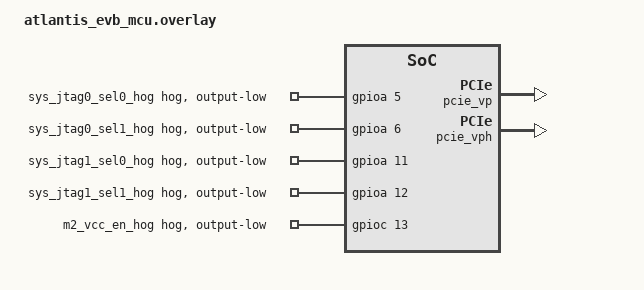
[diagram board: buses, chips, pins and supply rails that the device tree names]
// Tenstorrent Atlantis EVB MCU

#include "atlantis_common.dtsi"

/*
 * Host power rails (doc/hardware.rst, "SoC rails controlled by the
 * MCU"): the ATX supply, then the SLT order, the M.2 slot and the
 * handshakes. The schematic gives no inter-rail timings; the settle
 * times cover the regulators' own soft-start and are placeholders until
 * the SoC power sequencing specification gives real numbers.
 */
/ {
	power_rails: power-rails {
		/*
		 * ATX T1 + T3: up to 1 s from PS_ON to PWR_OK. On power off the
		 * PSU stays on while the LPDDR5 PMIC shuts down.
		 */
		atx: atx {
			compatible = "wallabmc,power-rail";
			enable = <&atx_pson>;
			power-good = <&atx_pwr_ok>;
			power-good-timeout-ms = <2000>;
			off-delay-ms = <100>;
		};
		/*
		 * PG_PH1 and PG_PH2 are clamped to about 2 V by LEDs; if PC7
		 * reads low with VCORE up, move pg_ph1 to power-good-optional
		 * (see Known issues). The TPS546E25 secondary's PG_PH2 is
		 * undocumented in a stack, so it only warns until measured.
		 */
		vcore_0v8: vcore_0v8 {
			compatible = "wallabmc,power-rail";
			enable = <&vcore_0v8_en>;
			power-good = <&pg_ph1>;
			power-good-optional = <&pg_ph2>;
		};
		mpm54304: mpm54304 {
			compatible = "wallabmc,power-rail";
			enable = <&mpm54304_en>;
			power-good = <&mpm54304_gpio>;
		};
		ddr_vdd: ddr_vdd {
			compatible = "wallabmc,power-rail";
			enable = <&ddr_vdd_en>;
			power-good = <&pwr_good_lpddr5>;
		};
		ddr_vdd2l: ddr_vdd2l {
			compatible = "wallabmc,power-rail";
			enable = <&ddr_vdd2l_en>;
			power-good = <&pwr_good_0v9>;
		};
		ddr_vddq: ddr_vddq {
			compatible = "wallabmc,power-rail";
			enable = <&ddr_vddq_en>;
			settle-ms = <1>;
		};
		pcie_vp: pcie_vp {
			compatible = "wallabmc,power-rail";
			enable = <&pcie_vp_en>;
			settle-ms = <5>;
		};
		pcie_vph: pcie_vph {
			compatible = "wallabmc,power-rail";
			enable = <&pcie_vph_en>;
			settle-ms = <5>;
		};
		/* TPS25200 turn-on plus the PCIe T_PVPERL before reset release */
		m2: m2 {
			compatible = "wallabmc,power-rail";
			enable = <&m2_vcc_en>;
			settle-ms = <120>;
		};
		/* Handshakes to the SoC, driven once every rail is up */
		pwr1_gd: pwr1_gd {
			compatible = "wallabmc,power-rail";
			enable = <&pwr1_gd_out>;
		};
		pwr2_gd: pwr2_gd {
			compatible = "wallabmc,power-rail";
			enable = <&pwr2_gd_out>;
		};
		otp_pwrrdy: otp_pwrrdy {
			compatible = "wallabmc,power-rail";
			enable = <&otp_pwrrdy_out>;
		};
	};

	power_sequencer: power-sequencer {
		compatible = "wallabmc,power-sequencer";
		power-on-sequence = <&atx &vcore_0v8 &mpm54304 &ddr_vdd &ddr_vdd2l
				     &ddr_vddq &pcie_vp &pcie_vph &m2
				     &pwr1_gd &pwr2_gd &otp_pwrrdy>;
		power-off-sequence = <&otp_pwrrdy &pwr2_gd &pwr1_gd
				      &m2 &pcie_vph &pcie_vp &ddr_vddq
				      &ddr_vdd2l &ddr_vdd &mpm54304 &vcore_0v8 &atx>;
		/* SoC junction over-temperature: power off at once */
		fault = <&tj_max>;
	};
};

/*
 * The EVB has no DIP switches on the mux selects and the pull-ups leave
 * them at 11 (no source), so route both SoC JTAG ports to the USB bridge
 * U73 until jtag.c takes a port for the MCU. The M.2 enable has no pull
 * resistor; the hog keeps the slot off from MCUboot until the power
 * sequence reaches it.
 */
&gpioa {
	sys_jtag0_sel0_hog: sys_jtag0_sel0_hog {
		gpio-hog;
		gpios = <5 GPIO_ACTIVE_HIGH>;
		output-low;
	};
	sys_jtag0_sel1_hog: sys_jtag0_sel1_hog {
		gpio-hog;
		gpios = <6 GPIO_ACTIVE_HIGH>;
		output-low;
	};
	sys_jtag1_sel0_hog: sys_jtag1_sel0_hog {
		gpio-hog;
		gpios = <11 GPIO_ACTIVE_HIGH>;
		output-low;
	};
	sys_jtag1_sel1_hog: sys_jtag1_sel1_hog {
		gpio-hog;
		gpios = <12 GPIO_ACTIVE_HIGH>;
		output-low;
	};
};

&gpioc {
	m2_vcc_en_hog: m2_vcc_en_hog {
		gpio-hog;
		gpios = <13 GPIO_ACTIVE_HIGH>;
		output-low;
	};
};
